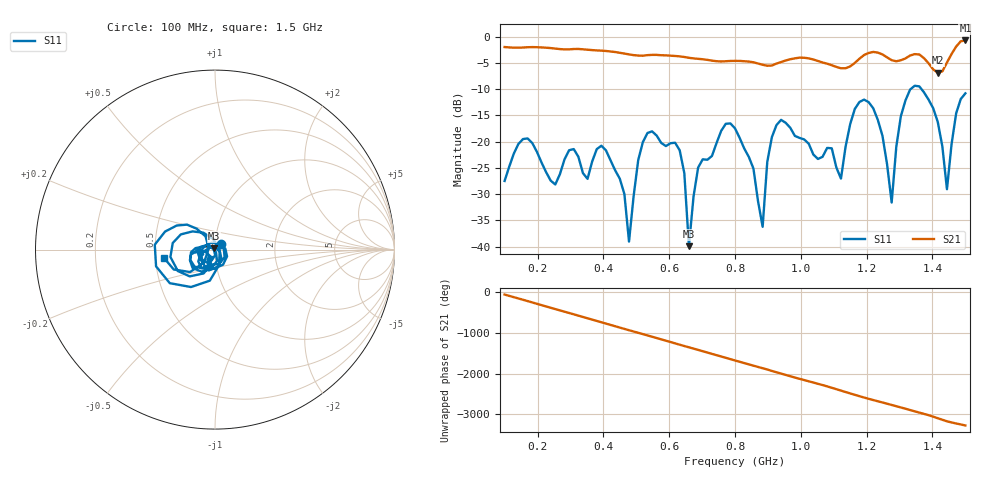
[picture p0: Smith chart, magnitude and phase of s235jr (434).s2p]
! NanoVNA-App
! Date: 2025-09-25 15:07:32
! Start: 100MHz Stop: 1,5GHz Points: 101
! S-Parameter data: F S11 S21 S12 S22
# Hz S RI R 50
!  Frequency  S11_Real  S11_Imag  S21_Real  S21_Imag  S12_Real  S12_Imag  S22_Real  S22_Imag
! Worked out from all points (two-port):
!   101 points, 100 MHz to 1.5 GHz, reference 50 ohm
!   highest |S21| = -0.71 dB at 1.5 GHz (marker M1); lowest = -6.8 dB at 1.416 GHz (marker M2)
!   |S21| within 3 dB of the highest: start of sweep to 626.2 MHz; 1.188 GHz to 1.257 GHz (68.96 MHz wide, 5.64 % of centre) (the widest 2 of 4)
!   lowest |S11| = -39.9 dB at 660 MHz (marker M3), VSWR 1.02, Z = 49.2 + j0.614 ohm
!   |S11| at or under -10 dB: start of sweep to 1.333 GHz; 1.367 GHz to end of sweep
!   S12 and S22 are empty: the file has one direction only
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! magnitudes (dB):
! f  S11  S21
! 100 MHz  -27.5  -2.0
! 170 MHz  -19.4  -2.0
! 338 MHz  -26.0  -2.4
! 408 MHz  -21.6  -2.7
! 478 MHz  -39.0  -3.4
! 520 MHz  -20.1  -3.6
! 576 MHz  -20.2  -3.5
! 632 MHz  -21.6  -3.7
! 660 MHz  -39.9  -4.0
! 688 MHz  -24.9  -4.2
! 800 MHz  -17.5  -4.6
! 884 MHz  -36.2  -5.3
! 926 MHz  -16.8  -5.1
! 1.038 GHz  -22.4  -4.3
! 1.122 GHz  -27.0  -6.0
! 1.164 GHz  -13.8  -5.0
! 1.206 GHz  -12.5  -3.1
! 1.276 GHz  -31.6  -4.5
! 1.332 GHz  -10.1  -3.6
! 1.416 GHz  -16.2  -6.8
! 1.444 GHz  -29.0  -4.9
! 1.5 GHz  -10.8  -0.7
